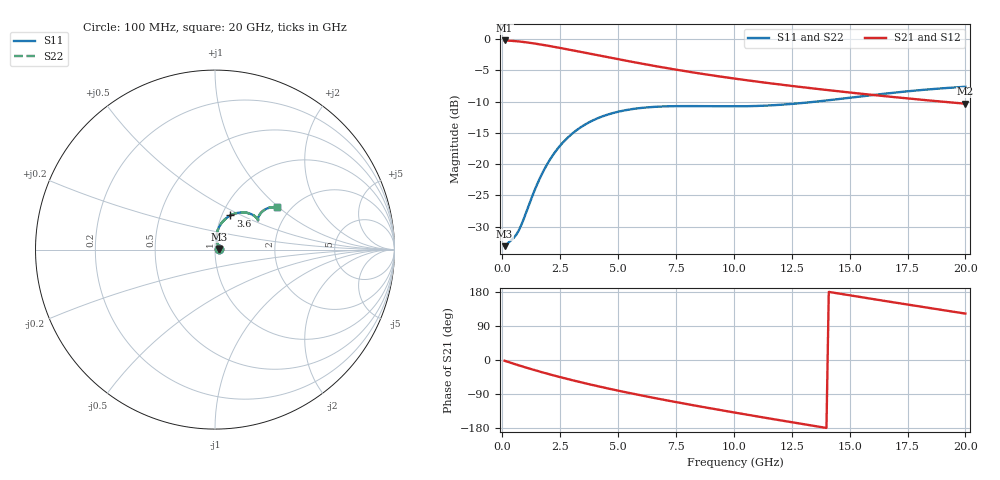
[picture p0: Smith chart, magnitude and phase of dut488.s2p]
! Touchstone file exported from HFSS 2024.1.0
!  File:  C:/UserFiles/LocalFiles/RDL_TSV_Batchsim/temp_RDL_TSV_488_1779734279.aedt
!  Generated:  02:49:02 AM May 26, 2026
!  Design:  RDL_TSV
!  Project:  temp_RDL_TSV_488_1779734279
!  Setup:  Setup1
!  Solution:  Sweep
! Variables:
!  dtsv = 14.81um
!  hbump = 3um
!  htsv = 57.82um
!  ldown = 321.21um
!  lrdl = 623.27um
!  p = 40
!  p1 = 44.08um
!  rhole = 10um
!  subl = 3456.71um
!  t = 450um
!  tdown = 3.15um
!  trdl = 4.41um
!  viad = 10um
!  wdown = 25.92um
!  wrdl = 11.23um
!  xbump = 18um
# GHz S MA R 50.000000
! Terminal data exported
! Port[1] = TM1_1_T1
! Port[2] = TM1_4_T1
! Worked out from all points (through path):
!   200 points, 100 MHz to 20 GHz, reference 50 ohm
!   highest |S21| = -0.20 dB at 100 MHz (marker M1); lowest = -10.3 dB at 20 GHz (marker M2)
!   group delay of S21, straight-line fit = 31.3 ps
!   lowest |S11| = -33.1 dB at 100 MHz (marker M3), VSWR 1.05, Z = 52.2 + j0.373 ohm
!   |S11| at or under -10 dB: start of sweep to 13.51 GHz
!   |S22| runs from -33.1 to -7.6 dB; largest |S21 - S12| = 3e-14
!   S11 on the Smith chart (normalised r, x): 100 MHz: 1.04, +0.01; 3.6 GHz: 1.10, +0.44; 20 GHz: 1.70, +0.97
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0.1  0.02208 9.3  0.9777 -2.0  0.9777 -2.0  0.02208 9.3
! Gamma 0 0 0 0
! Port Impedance 50 0 50 0
0.5  0.02581 38.6  0.968 -10.0  0.968 -10.0  0.02581 38.6
0.7  0.02925 53.3  0.9605 -13.9  0.9605 -13.9  0.02925 53.4
0.9  0.03544 66.1  0.9515 -17.7  0.9515 -17.7  0.03545 66.1
1.4  0.0621 81.7  0.9239 -26.8  0.9239 -26.8  0.06215 81.7
1.8  0.08989 83.3  0.8985 -33.7  0.8985 -33.7  0.08996 83.3
2.2  0.1192 80.9  0.8718 -40.4  0.8718 -40.4  0.1193 80.9
2.6  0.1479 76.9  0.8447 -46.8  0.8447 -46.8  0.148 76.9
3.5  0.2037 66.7  0.7846 -60.3  0.7846 -60.3  0.2038 66.7
3.6  0.209 65.6  0.7781 -61.8  0.7781 -61.8  0.2091 65.6
4.3  0.2404 58.3  0.7339 -71.6  0.7339 -71.6  0.2405 58.3
5  0.2628 51.9  0.6926 -80.9  0.6926 -80.9  0.263 51.9
5.9  0.2806 45.2  0.6441 -92.2  0.6441 -92.2  0.2808 45.2
6.8  0.2892 40.2  0.601 -103.0  0.601 -103.0  0.2893 40.2
8.4  0.2915 35.2  0.5366 -121.1  0.5366 -121.1  0.2915 35.2
10.1  0.2903 34.3  0.4823 -139.4  0.4823 -139.4  0.2903 34.2
11.7  0.2964 35.9  0.4409 -156.0  0.4409 -156.0  0.2964 35.9
13.4  0.3146 38.0  0.4043 -173.3  0.4043 -173.3  0.3146 38.0
15  0.34 38.9  0.3748 170.7  0.3748 170.7  0.34 38.9
16.7  0.3698 38.3  0.3476 154.1  0.3476 154.1  0.3698 38.3
18.3  0.3953 36.6  0.3253 138.6  0.3253 138.6  0.3954 36.7
20  0.4164 34.3  0.3049 122.5  0.3049 122.5  0.4166 34.3
